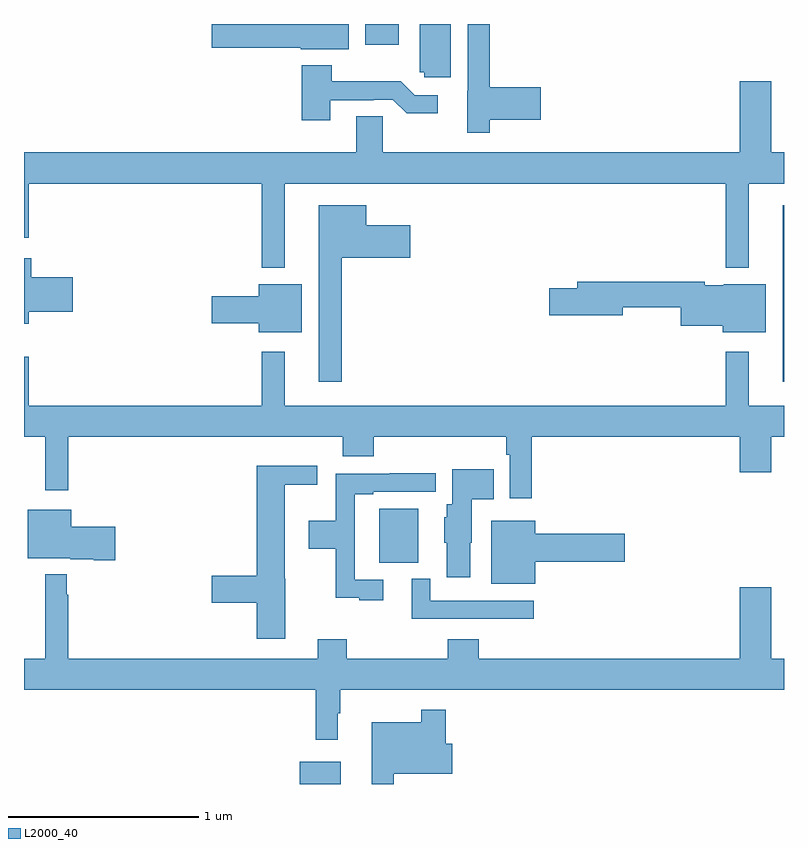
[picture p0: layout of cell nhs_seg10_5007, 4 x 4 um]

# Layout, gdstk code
import gdstk
lib = gdstk.Library(unit=1e-6, precision=1e-09)
def R(c, l, rs):  # rectangles x0, y0, x1, y1
    for r in rs: c.add(gdstk.rectangle(r[:2], r[2:], *l))
def P(c, l, *ps):  # polygons
    for p in ps: c.add(gdstk.Polygon(p, *l))
L2000_40 = (2000, 40)

nhs_seg10_5007 = lib.new_cell('nhs_seg10_5007')
R(nhs_seg10_5007, L2000_40, [(402.452,1286.5,402.667,1286.617), (402.869,1287.665,403.075,1287.949), (404.993,1288.617,405,1289.545), (402.795,1290.392,402.973,1290.5)])
P(nhs_seg10_5007, L2000_40, [(403.451,1289.996),(403.72,1289.996),(403.72,1290.167),(403.451,1290.167),(403.451,1290.5),(403.335,1290.5),(403.335,1290.15),(403.334,1290.15),(403.334,1289.928),(403.451,1289.928)],
  [(402.71,1290.5),(401.988,1290.5),(401.988,1290.374),(402.456,1290.374),(402.456,1290.368),(402.71,1290.368)],
  [(403.246,1290.5),(403.082,1290.5),(403.082,1290.246),(403.107,1290.246),(403.107,1290.219),(403.246,1290.219)],
  [(402.613,1290.099),(402.842,1290.099),(402.842,1290.102),(402.942,1290.102),(403.015,1290.029),(403.177,1290.029),(403.177,1290.126),(403.056,1290.126),(402.983,1290.199),(402.621,1290.199),(402.621,1290.283),(402.461,1290.283),(402.461,1289.994),(402.613,1289.994)],
  [(402.373,1289.66),(404.694,1289.66),(404.694,1289.216),(404.815,1289.216),(404.815,1289.66),(405,1289.66),(405,1289.824),(404.932,1289.824),(404.932,1290.199),(404.768,1290.199),(404.768,1289.824),(402.888,1289.824),(402.888,1290.014),(402.749,1290.014),(402.749,1289.824),(401,1289.824),(401,1289.376),(401.024,1289.376),(401.024,1289.66),(402.252,1289.66),(402.252,1289.216),(402.373,1289.216)],
  [(402.673,1289.27),(403.033,1289.27),(403.033,1289.44),(402.802,1289.44),(402.802,1289.545),(402.551,1289.545),(402.551,1288.617),(402.673,1288.617)],
  [(401.026,1288.985),(401.257,1288.985),(401.257,1289.168),(401.039,1289.168),(401.039,1289.266),(401,1289.266),(401,1288.922),(401.026,1288.922)],
  [(404.905,1289.131),(404.682,1289.131),(404.682,1289.125),(404.582,1289.125),(404.582,1289.144),(403.913,1289.144),(403.913,1289.108),(403.764,1289.108),(403.764,1288.966),(404.152,1288.966),(404.152,1289.008),(404.456,1289.008),(404.456,1288.913),(404.678,1288.913),(404.678,1288.877),(404.905,1288.877)],
  [(402.463,1289.131),(402.236,1289.131),(402.236,1289.066),(401.988,1289.066),(401.988,1288.924),(402.236,1288.924),(402.236,1288.877),(402.463,1288.877)],
  [(403.673,1288.328),(404.768,1288.328),(404.768,1288.14),(404.932,1288.14),(404.932,1288.328),(405,1288.328),(405,1288.492),(404.815,1288.492),(404.815,1288.774),(404.694,1288.774),(404.694,1288.492),(402.373,1288.492),(402.373,1288.774),(402.252,1288.774),(402.252,1288.492),(401.024,1288.492),(401.024,1288.75),(401,1288.75),(401,1288.328),(401.111,1288.328),(401.111,1288.047),(401.233,1288.047),(401.233,1288.328),(402.677,1288.328),(402.677,1288.226),(402.842,1288.226),(402.842,1288.328),(403.537,1288.328),(403.537,1288.232),(403.557,1288.232),(403.557,1288.005),(403.673,1288.005)],
  [(402.376,1287.579),(402.373,1287.579),(402.373,1288.076),(402.544,1288.076),(402.544,1288.174),(402.224,1288.174),(402.224,1287.596),(401.988,1287.596),(401.988,1287.454),(402.224,1287.454),(402.224,1287.264),(402.376,1287.264)],
  [(403.348,1287.771),(403.357,1287.771),(403.357,1287.998),(403.472,1287.998),(403.472,1288.156),(403.253,1288.156),(403.253,1287.972),(403.226,1287.972),(403.226,1287.903),(403.211,1287.903),(403.211,1287.771),(403.226,1287.771),(403.226,1287.588),(403.348,1287.588)],
  [(402.892,1287.576),(402.741,1287.576),(402.741,1288.026),(402.838,1288.026),(402.838,1288.038),(403.168,1288.038),(403.168,1288.136),(402.925,1288.136),(402.925,1288.134),(402.64,1288.134),(402.64,1287.886),(402.498,1287.886),(402.498,1287.739),(402.64,1287.739),(402.64,1287.479),(402.764,1287.479),(402.764,1287.468),(402.892,1287.468)],
  [(401.479,1287.855),(401.248,1287.855),(401.248,1287.943),(401.021,1287.943),(401.021,1287.689),(401.244,1287.689),(401.244,1287.683),(401.366,1287.683),(401.366,1287.677),(401.479,1287.677)],
  [(403.69,1287.671),(404.161,1287.671),(404.161,1287.818),(403.69,1287.818),(403.69,1287.886),(403.46,1287.886),(403.46,1287.554),(403.69,1287.554)],
  [(402.652,1286.873),(402.664,1286.873),(402.664,1286.996),(405,1286.996),(405,1287.16),(404.932,1287.16),(404.932,1287.535),(404.768,1287.535),(404.768,1287.16),(403.394,1287.16),(403.394,1287.262),(403.229,1287.262),(403.229,1287.16),(402.698,1287.16),(402.698,1287.262),(402.545,1287.262),(402.545,1287.16),(401.233,1287.16),(401.233,1287.497),(401.225,1287.497),(401.225,1287.604),(401.111,1287.604),(401.111,1287.16),(401,1287.16),(401,1286.996),(402.535,1286.996),(402.535,1286.733),(402.652,1286.733)],
  [(403.684,1287.465),(403.137,1287.465),(403.137,1287.58),(403.04,1287.58),(403.04,1287.369),(403.684,1287.369)],
  [(402.947,1286.555),(403.255,1286.555),(403.255,1286.713),(403.22,1286.713),(403.22,1286.89),(403.092,1286.89),(403.092,1286.824),(402.83,1286.824),(402.83,1286.5),(402.947,1286.5)])

lib.write_gds('nhs_seg10_5007.gds')
